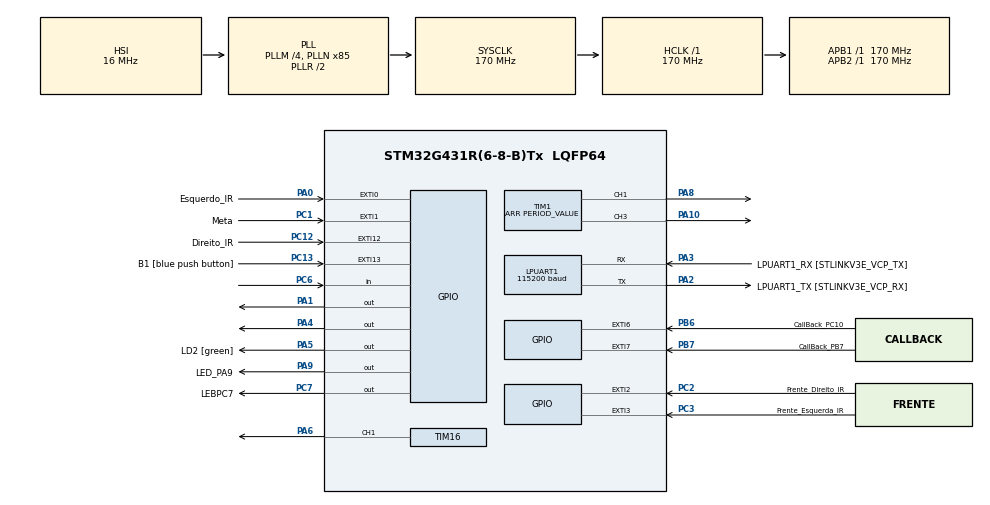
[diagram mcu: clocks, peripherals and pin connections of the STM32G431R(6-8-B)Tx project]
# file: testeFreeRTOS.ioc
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FREERTOS.Tasks01=defaultTask,24,128,StartDefaultTask,Default,NULL,Dynamic,NULL,NULL;myTask02,8,128,StartTask02,Default,NULL,Dynamic,NULL,NULL;myTask03,8,128,StartTask03,Default,NULL,Dynamic,NULL,NULL;myTask04,8,128,StartTask04,Default,NULL,Dynamic,NULL,NULL
FREERTOS.configTICK_RATE_HZ=100
LPUART1.BaudRate=115200
LPUART1.WordLength=UART_WORDLENGTH_8B
Mcu.Family=STM32G4
Mcu.Name=STM32G431R(6-8-B)Tx
Mcu.Package=LQFP64
NVIC.EXTI0_IRQn=true\:5\:0\:false\:false\:true\:true\:true\:true\:true
NVIC.EXTI15_10_IRQn=true\:5\:0\:false\:false\:true\:true\:true\:true\:true
NVIC.EXTI2_IRQn=true\:5\:0\:false\:false\:true\:true\:true\:true\:true
NVIC.EXTI3_IRQn=true\:5\:0\:false\:false\:true\:true\:true\:true\:true
NVIC.EXTI9_5_IRQn=true\:5\:0\:false\:false\:true\:true\:true\:true\:true
NVIC.PriorityGroup=NVIC_PRIORITYGROUP_4
NVIC.TIM2_IRQn=true\:5\:0\:false\:false\:true\:true\:true\:true\:true
NVIC.TIM3_IRQn=true\:15\:0\:false\:false\:true\:false\:false\:true\:true
NVIC.TimeBase=TIM3_IRQn
NVIC.TimeBaseIP=TIM3
PA0.GPIO_Label=Esquerdo_IR
PA0.GPIO_ModeDefaultEXTI=GPIO_MODE_IT_RISING_FALLING
PA0.GPIO_PuPd=GPIO_NOPULL
PA0.Signal=GPXTI0
PA1.Signal=GPIO_Output
PA10.GPIO_PuPd=GPIO_PULLUP
PA10.GPIO_Speed=GPIO_SPEED_FREQ_VERY_HIGH
PA10.Signal=S_TIM1_CH3
PA13.GPIO_Label=T_SWDIO
PA13.Mode=Serial_Wire
PA13.Signal=SYS_JTMS-SWDIO
PA14.GPIO_Label=T_SWCLK
PA14.Mode=Serial_Wire
PA14.Signal=SYS_JTCK-SWCLK
PA2.GPIO_Label=LPUART1_TX [STLINKV3E_VCP_RX]
PA2.Mode=Asynchronous
PA2.Signal=LPUART1_TX
PA3.GPIO_Label=LPUART1_RX [STLINKV3E_VCP_TX]
PA3.Mode=Asynchronous
PA3.Signal=LPUART1_RX
PA4.Signal=GPIO_Output
PA5.GPIO_Label=LD2 [green]
PA5.Signal=GPIO_Output
PA6.GPIO_PuPd=GPIO_PULLUP
PA6.GPIO_Speed=GPIO_SPEED_FREQ_VERY_HIGH
PA6.Signal=S_TIM16_CH1
PA8.GPIO_PuPd=GPIO_PULLUP
PA8.GPIO_Speed=GPIO_SPEED_FREQ_VERY_HIGH
PA8.Signal=S_TIM1_CH1
PA9.GPIO_Label=LED_PA9
PA9.GPIO_ModeDefaultOutputPP=GPIO_MODE_OUTPUT_PP
PA9.GPIO_PuPd=GPIO_NOPULL
PA9.Signal=GPIO_Output
PB3.GPIO_Label=T_SWO
PB3.Signal=SYS_JTDO-SWO
PB6.GPIO_Label=CallBack_PC10
PB6.Signal=GPXTI6
PB7.GPIO_Label=CallBack_PB7
PB7.Signal=GPXTI7
PC1.GPIO_Label=Meta
PC1.Signal=GPXTI1
PC12.GPIO_Label=Direito_IR
PC12.GPIO_ModeDefaultEXTI=GPIO_MODE_IT_RISING_FALLING
PC12.Signal=GPXTI12
PC13.GPIO_Label=B1 [blue push button]
PC13.Signal=GPXTI13
PC14-OSC32_IN.Mode=LSE-External-Oscillator
PC14-OSC32_IN.Signal=RCC_OSC32_IN
PC15-OSC32_OUT.Mode=LSE-External-Oscillator
PC15-OSC32_OUT.Signal=RCC_OSC32_OUT
PC2.GPIO_Label=Frente_Direito_IR
PC2.GPIO_ModeDefaultEXTI=GPIO_MODE_IT_RISING_FALLING
PC2.Signal=GPXTI2
PC3.GPIO_Label=Frente_Esquerda_IR
PC3.GPIO_ModeDefaultEXTI=GPIO_MODE_IT_RISING_FALLING
PC3.Signal=GPXTI3
PC6.GPIO_PuPd=GPIO_NOPULL
PC6.Signal=GPIO_Input
PC7.GPIO_Label=LEBPC7
PC7.Signal=GPIO_Output
PF0-OSC_IN.Mode=HSE-External-Oscillator
PF0-OSC_IN.Signal=RCC_OSC_IN
PF1-OSC_OUT.Mode=HSE-External-Oscillator
PF1-OSC_OUT.Signal=RCC_OSC_OUT
ProjectManager.HeapSize=0x200
ProjectManager.StackSize=0x400
ProjectManager.TargetToolchain=STM32CubeIDE
RCC.ADC12Freq_Value=170000000
RCC.AHBFreq_Value=170000000
RCC.APB1Freq_Value=170000000
RCC.APB1TimFreq_Value=170000000
RCC.APB2Freq_Value=170000000
RCC.APB2TimFreq_Value=170000000
RCC.CortexFreq_Value=170000000
RCC.EXTERNAL_CLOCK_VALUE=12288000
RCC.HCLKFreq_Value=170000000
RCC.HSE_VALUE=24000000
RCC.HSI48_VALUE=48000000
RCC.HSI_VALUE=16000000
RCC.PLLM=RCC_PLLM_DIV4
RCC.PLLN=85
RCC.RTCClockSelection=RCC_RTCCLKSOURCE_LSE
RCC.SYSCLKFreq_VALUE=170000000
RCC.SYSCLKSource=RCC_SYSCLKSOURCE_PLLCLK
RCC.USBFreq_Value=170000000
RCC.VCOOutputFreq_Value=340000000
SH.S_TIM16_CH1.0=TIM16_CH1,PWM Generation1 CH1
SH.S_TIM1_CH1.0=TIM1_CH1,PWM Generation1 CH1
SH.S_TIM1_CH3.0=TIM1_CH3,PWM Generation3 CH3
TIM1.Channel-PWM\ Generation1\ CH1=TIM_CHANNEL_1
TIM1.Channel-PWM\ Generation3\ CH3=TIM_CHANNEL_3
TIM1.PeriodNoDither=PERIOD_VALUE
TIM1.Prescaler=PRESCALER_VALUE
TIM1.PulseNoDither_1=PULSE1_VALUE
TIM1.PulseNoDither_3=PULSE2_VALUE
TIM16.AutoReloadPreload=TIM_AUTORELOAD_PRELOAD_ENABLE
TIM16.Channel=TIM_CHANNEL_1
TIM16.PeriodNoDither=PERIOD_VALUE2
TIM16.Prescaler=PRESCALER_VALUE2
TIM16.PulseNoDither_1=PULSE1_VALUE2
TIM2.PeriodNoDither=30
TIM2.Prescaler=56000
VP_FREERTOS_VS_CMSIS_V2.Mode=CMSIS_V2
VP_SYS_VS_DBSignals.Mode=DisableDeadBatterySignals
VP_SYS_VS_tim3.Mode=TIM3
VP_TIM16_VS_ClockSourceINT.Mode=Enable_Timer
VP_TIM2_VS_ClockSourceINT.Mode=Internal
board=NUCLEO-G431RB

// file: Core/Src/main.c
//testestes

/* USER CODE BEGIN Header */
/**
 ******************************************************************************
 * @file           : main.c
 * @brief          : Main program body
 ******************************************************************************
 * @attention
 *
 * Copyright (c) 2024 STMicroelectronics.
 * All rights reserved.
 *
 * This software is licensed under terms that can be found in the LICENSE file
 * in the root directory of this software component.
 * If no LICENSE file comes with this software, it is provided AS-IS.
 *
 ******************************************************************************
 */
/* USER CODE END Header */
#include "main.h"
#include "cmsis_os.h"

/* USER CODE BEGIN Includes */
#include <stdio.h>
#include <math.h>
#include <stdlib.h>
/* USER CODE END Includes */

UART_HandleTypeDef hlpuart1;

TIM_HandleTypeDef htim1;
TIM_HandleTypeDef htim2;
TIM_HandleTypeDef htim16;

/* Definitions for defaultTask */
osThreadId_t defaultTaskHandle;
const osThreadAttr_t defaultTask_attributes = {
    .name = "defaultTask",
    .priority = (osPriority_t)osPriorityNormal,
    .stack_size = 128 * 4};
/* Definitions for myTask02 */
osThreadId_t myTask02Handle;
const osThreadAttr_t myTask02_attributes = {
    .name = "myTask02",
    .priority = (osPriority_t)osPriorityLow,
    .stack_size = 128 * 4};
/* Definitions for myTask03 */
osThreadId_t myTask03Handle;
const osThreadAttr_t myTask03_attributes = {
    .name = "myTask03",
    .priority = (osPriority_t)osPriorityLow,
    .stack_size = 128 * 4};
/* Definitions for myTask04 */
osThreadId_t myTask04Handle;
const osThreadAttr_t myTask04_attributes = {
    .name = "myTask04",
    .priority = (osPriority_t)osPriorityLow,
    .stack_size = 128 * 4};
/* USER CODE BEGIN PV */
#ifdef __GNUC__
/* With GCC/RAISONANCE, small printf (option LD Linker->Libraries->Small printf
   set to 'Yes') calls __io_putchar() */
#define PUTCHAR_PROTOTYPE int __io_putchar(int ch)
#else
#define PUTCHAR_PROTOTYPE int fputc(int ch, FILE *f)
#endif /* __GNUC__ */

PUTCHAR_PROTOTYPE
{
    /* Place your implementation of fputc here */
    /* e.g. write a character to the USART1 and Loop until the end of transmission */
    HAL_UART_Transmit(&hlpuart1, (uint8_t *)&ch, 1, 0xFFFF);

    return ch;
}
/* USER CODE END PV */

void SystemClock_Config(void);
static void MX_GPIO_Init(void);
static void MX_LPUART1_UART_Init(void);
static void MX_TIM1_Init(void);
static void MX_TIM16_Init(void);
static void MX_TIM2_Init(void);
void StartDefaultTask(void *argument);
void StartTask02(void *argument);
void StartTask03(void *argument);
void StartTask04(void *argument);

/* USER CODE BEGIN 0 */
int count_1s = 0, count_dir = 0, count_esq = 0, count_dir_PPR = 0, count_esq_PPR = 0, count = 0, pcount = 0, count_time_base = 0;
int state = 0;
int pedestrian = 0;
int RPM_esq = 0, RPM_dir = 0, rpm_DIFF = 0, dc_esq = 0, dc_dir = 0, DCE = 3300, DCD, auxxx = 0;
int error = 0, gain = 0, aux1, aux2, frequency_esq, frequency_dir, CONTPWM16 = 300, metaD = 80, metaE = 115;
int DIR = 0, ESQ = 3300;
int derivativeE = 0, integralE = 0, previous_errorE = 0, derivativeD = 0, integralD = 0, previous_errorD = 0;
;
int erroE = 0, gainE = 0, erroD = 0, gainD = 0;
float kp = 1, kd = 0.1, ki = 0.3;
int PID_output;

int flagE = 0, flagD = 0, flagFD = 0, flagFE = 0, flagMETA = 0;
/* USER CODE END 0 */

int main(void)
{

    /* MCU Configuration--------------------------------------------------------*/

    /* Reset of all peripherals, Initializes the Flash interface and the Systick. */
    HAL_Init();

    /* Configure the system clock */
    SystemClock_Config();

    /* Initialize all configured peripherals */
    MX_GPIO_Init();
    MX_LPUART1_UART_Init();
    MX_TIM1_Init();
    MX_TIM16_Init();
    MX_TIM2_Init();
    /* USER CODE BEGIN 2 */
    HAL_TIM_Base_Start_IT(&htim2);
    printf("** Teste inicial 3 %d** \n\r", count);

    /*## Start PWM signals generation #######################################*/
    /* Start channel 1 */
    if (HAL_TIM_PWM_Start(&htim1, TIM_CHANNEL_1) != HAL_OK)
    {
        /* PWM Generation Error */
        Error_Handler();
    }
    if (HAL_TIM_PWM_Start(&htim1, TIM_CHANNEL_3) != HAL_OK)
    {
        /* PWM Generation Error */
        Error_Handler();
    }
    if (HAL_TIM_PWM_Start(&htim16, TIM_CHANNEL_1) != HAL_OK)
    {
        /* PWM Generation Error */
        Error_Handler();
    }
    TIM1->CCR1 = 3500; // DIREITO // 4000
    TIM1->CCR3 = 3900; // 4795

    /* USER CODE END 2 */

    /* Init scheduler */
    osKernelInitialize();

    /* Create the thread(s) */
    /* creation of defaultTask */
    defaultTaskHandle = osThreadNew(StartDefaultTask, NULL, &defaultTask_attributes);

    /* creation of myTask02 */
    myTask02Handle = osThreadNew(StartTask02, NULL, &myTask02_attributes);

    /* creation of myTask03 */
    myTask03Handle = osThreadNew(StartTask03, NULL, &myTask03_attributes);

    /* creation of myTask04 */
    myTask04Handle = osThreadNew(StartTask04, NULL, &myTask04_attributes);

    /* Start scheduler */
    osKernelStart();

    /* We should never get here as control is now taken by the scheduler */
    /* Infinite loop */
    while (1)
    {

    }
}

void SystemClock_Config(void)
{
    RCC_OscInitTypeDef RCC_OscInitStruct = {0};
    RCC_ClkInitTypeDef RCC_ClkInitStruct = {0};

    /** Configure the main internal regulator output voltage
     */
    HAL_PWREx_ControlVoltageScaling(PWR_REGULATOR_VOLTAGE_SCALE1_BOOST);

    /** Initializes the RCC Oscillators according to the specified parameters
     * in the RCC_OscInitTypeDef structure.
     */
    RCC_OscInitStruct.OscillatorType = RCC_OSCILLATORTYPE_HSI;
    RCC_OscInitStruct.HSIState = RCC_HSI_ON;
    RCC_OscInitStruct.HSICalibrationValue = RCC_HSICALIBRATION_DEFAULT;
    RCC_OscInitStruct.PLL.PLLState = RCC_PLL_ON;
    RCC_OscInitStruct.PLL.PLLSource = RCC_PLLSOURCE_HSI;
    RCC_OscInitStruct.PLL.PLLM = RCC_PLLM_DIV4;
    RCC_OscInitStruct.PLL.PLLN = 85;
    RCC_OscInitStruct.PLL.PLLP = RCC_PLLP_DIV2;
    RCC_OscInitStruct.PLL.PLLQ = RCC_PLLQ_DIV2;
    RCC_OscInitStruct.PLL.PLLR = RCC_PLLR_DIV2;
    if (HAL_RCC_OscConfig(&RCC_OscInitStruct) != HAL_OK)
    {
        Error_Handler();
    }

    /** Initializes the CPU, AHB and APB buses clocks
     */
    RCC_ClkInitStruct.ClockType = RCC_CLOCKTYPE_HCLK | RCC_CLOCKTYPE_SYSCLK | RCC_CLOCKTYPE_PCLK1 | RCC_CLOCKTYPE_PCLK2;
    RCC_ClkInitStruct.SYSCLKSource = RCC_SYSCLKSOURCE_PLLCLK;
    RCC_ClkInitStruct.AHBCLKDivider = RCC_SYSCLK_DIV1;
    RCC_ClkInitStruct.APB1CLKDivider = RCC_HCLK_DIV1;
    RCC_ClkInitStruct.APB2CLKDivider = RCC_HCLK_DIV1;

    if (HAL_RCC_ClockConfig(&RCC_ClkInitStruct, FLASH_LATENCY_4) != HAL_OK)
    {
        Error_Handler();
    }
}

static void MX_LPUART1_UART_Init(void)
{

    hlpuart1.Instance = LPUART1;
    hlpuart1.Init.BaudRate = 115200;
    hlpuart1.Init.WordLength = UART_WORDLENGTH_8B;
    hlpuart1.Init.StopBits = UART_STOPBITS_1;
    hlpuart1.Init.Parity = UART_PARITY_NONE;
    hlpuart1.Init.Mode = UART_MODE_TX_RX;
    hlpuart1.Init.HwFlowCtl = UART_HWCONTROL_NONE;
    hlpuart1.Init.OneBitSampling = UART_ONE_BIT_SAMPLE_DISABLE;
    hlpuart1.Init.ClockPrescaler = UART_PRESCALER_DIV1;
    hlpuart1.AdvancedInit.AdvFeatureInit = UART_ADVFEATURE_NO_INIT;
    if (HAL_UART_Init(&hlpuart1) != HAL_OK)
    {
        Error_Handler();
    }
    if (HAL_UARTEx_SetTxFifoThreshold(&hlpuart1, UART_TXFIFO_THRESHOLD_1_8) != HAL_OK)
    {
        Error_Handler();
    }
    if (HAL_UARTEx_SetRxFifoThreshold(&hlpuart1, UART_RXFIFO_THRESHOLD_1_8) != HAL_OK)
    {
        Error_Handler();
    }
    if (HAL_UARTEx_DisableFifoMode(&hlpuart1) != HAL_OK)
    {
        Error_Handler();
    }
}

static void MX_TIM1_Init(void)
{

    TIM_MasterConfigTypeDef sMasterConfig = {0};
    TIM_OC_InitTypeDef sConfigOC = {0};
    TIM_BreakDeadTimeConfigTypeDef sBreakDeadTimeConfig = {0};

    htim1.Instance = TIM1;
    htim1.Init.Prescaler = PRESCALER_VALUE;
    htim1.Init.CounterMode = TIM_COUNTERMODE_UP;
    htim1.Init.Period = PERIOD_VALUE;
    htim1.Init.ClockDivision = TIM_CLOCKDIVISION_DIV1;
    htim1.Init.RepetitionCounter = 0;
    htim1.Init.AutoReloadPreload = TIM_AUTORELOAD_PRELOAD_DISABLE;
    if (HAL_TIM_PWM_Init(&htim1) != HAL_OK)
    {
        Error_Handler();
    }
    sMasterConfig.MasterOutputTrigger = TIM_TRGO_RESET;
    sMasterConfig.MasterOutputTrigger2 = TIM_TRGO2_RESET;
    sMasterConfig.MasterSlaveMode = TIM_MASTERSLAVEMODE_DISABLE;
    if (HAL_TIMEx_MasterConfigSynchronization(&htim1, &sMasterConfig) != HAL_OK)
    {
        Error_Handler();
    }
    sConfigOC.OCMode = TIM_OCMODE_PWM1;
    sConfigOC.Pulse = PULSE1_VALUE;
    sConfigOC.OCPolarity = TIM_OCPOLARITY_HIGH;
    sConfigOC.OCNPolarity = TIM_OCNPOLARITY_HIGH;
    sConfigOC.OCFastMode = TIM_OCFAST_DISABLE;
    sConfigOC.OCIdleState = TIM_OCIDLESTATE_RESET;
    sConfigOC.OCNIdleState = TIM_OCNIDLESTATE_RESET;
    if (HAL_TIM_PWM_ConfigChannel(&htim1, &sConfigOC, TIM_CHANNEL_1) != HAL_OK)
    {
        Error_Handler();
    }
    sConfigOC.Pulse = PULSE2_VALUE;
    if (HAL_TIM_PWM_ConfigChannel(&htim1, &sConfigOC, TIM_CHANNEL_3) != HAL_OK)
    {
        Error_Handler();
    }
    sBreakDeadTimeConfig.OffStateRunMode = TIM_OSSR_DISABLE;
    sBreakDeadTimeConfig.OffStateIDLEMode = TIM_OSSI_DISABLE;
    sBreakDeadTimeConfig.LockLevel = TIM_LOCKLEVEL_OFF;
    sBreakDeadTimeConfig.DeadTime = 0;
    sBreakDeadTimeConfig.BreakState = TIM_BREAK_DISABLE;
    sBreakDeadTimeConfig.BreakPolarity = TIM_BREAKPOLARITY_HIGH;
    sBreakDeadTimeConfig.BreakFilter = 0;
    sBreakDeadTimeConfig.BreakAFMode = TIM_BREAK_AFMODE_INPUT;
    sBreakDeadTimeConfig.Break2State = TIM_BREAK2_DISABLE;
    sBreakDeadTimeConfig.Break2Polarity = TIM_BREAK2POLARITY_HIGH;
    sBreakDeadTimeConfig.Break2Filter = 0;
    sBreakDeadTimeConfig.Break2AFMode = TIM_BREAK_AFMODE_INPUT;
    sBreakDeadTimeConfig.AutomaticOutput = TIM_AUTOMATICOUTPUT_DISABLE;
    if (HAL_TIMEx_ConfigBreakDeadTime(&htim1, &sBreakDeadTimeConfig) != HAL_OK)
    {
        Error_Handler();
    }
    HAL_TIM_MspPostInit(&htim1);
}

static void MX_TIM2_Init(void)
{

    TIM_ClockConfigTypeDef sClockSourceConfig = {0};
    TIM_MasterConfigTypeDef sMasterConfig = {0};

    htim2.Instance = TIM2;
    htim2.Init.Prescaler = 56000;
    htim2.Init.CounterMode = TIM_COUNTERMODE_UP;
    htim2.Init.Period = 30;
    htim2.Init.ClockDivision = TIM_CLOCKDIVISION_DIV1;
    htim2.Init.AutoReloadPreload = TIM_AUTORELOAD_PRELOAD_DISABLE;
    if (HAL_TIM_Base_Init(&htim2) != HAL_OK)
    {
        Error_Handler();
    }
    sClockSourceConfig.ClockSource = TIM_CLOCKSOURCE_INTERNAL;
    if (HAL_TIM_ConfigClockSource(&htim2, &sClockSourceConfig) != HAL_OK)
    {
        Error_Handler();
    }
    sMasterConfig.MasterOutputTrigger = TIM_TRGO_RESET;
    sMasterConfig.MasterSlaveMode = TIM_MASTERSLAVEMODE_DISABLE;
    if (HAL_TIMEx_MasterConfigSynchronization(&htim2, &sMasterConfig) != HAL_OK)
    {
        Error_Handler();
    }
}

static void MX_TIM16_Init(void)
{

    TIM_OC_InitTypeDef sConfigOC = {0};
    TIM_BreakDeadTimeConfigTypeDef sBreakDeadTimeConfig = {0};

    htim16.Instance = TIM16;
    htim16.Init.Prescaler = PRESCALER_VALUE2;
    htim16.Init.CounterMode = TIM_COUNTERMODE_UP;
    htim16.Init.Period = PERIOD_VALUE2;
    htim16.Init.ClockDivision = TIM_CLOCKDIVISION_DIV1;
    htim16.Init.RepetitionCounter = 0;
    htim16.Init.AutoReloadPreload = TIM_AUTORELOAD_PRELOAD_ENABLE;
    if (HAL_TIM_Base_Init(&htim16) != HAL_OK)
    {
        Error_Handler();
    }
    if (HAL_TIM_PWM_Init(&htim16) != HAL_OK)
    {
        Error_Handler();
    }
    sConfigOC.OCMode = TIM_OCMODE_PWM1;
    sConfigOC.Pulse = PULSE1_VALUE2;
    sConfigOC.OCPolarity = TIM_OCPOLARITY_HIGH;
    sConfigOC.OCNPolarity = TIM_OCNPOLARITY_HIGH;
    sConfigOC.OCFastMode = TIM_OCFAST_DISABLE;
    sConfigOC.OCIdleState = TIM_OCIDLESTATE_RESET;
    sConfigOC.OCNIdleState = TIM_OCNIDLESTATE_RESET;
    if (HAL_TIM_PWM_ConfigChannel(&htim16, &sConfigOC, TIM_CHANNEL_1) != HAL_OK)
    {
        Error_Handler();
    }
    sBreakDeadTimeConfig.OffStateRunMode = TIM_OSSR_DISABLE;
    sBreakDeadTimeConfig.OffStateIDLEMode = TIM_OSSI_DISABLE;
    sBreakDeadTimeConfig.LockLevel = TIM_LOCKLEVEL_OFF;
    sBreakDeadTimeConfig.DeadTime = 0;
    sBreakDeadTimeConfig.BreakState = TIM_BREAK_DISABLE;
    sBreakDeadTimeConfig.BreakPolarity = TIM_BREAKPOLARITY_HIGH;
    sBreakDeadTimeConfig.BreakFilter = 0;
    sBreakDeadTimeConfig.AutomaticOutput = TIM_AUTOMATICOUTPUT_DISABLE;
    if (HAL_TIMEx_ConfigBreakDeadTime(&htim16, &sBreakDeadTimeConfig) != HAL_OK)
    {
        Error_Handler();
    }
    HAL_TIM_MspPostInit(&htim16);
}

static void MX_GPIO_Init(void)
{
    GPIO_InitTypeDef GPIO_InitStruct = {0};

    /* GPIO Ports Clock Enable */
    __HAL_RCC_GPIOC_CLK_ENABLE();
    __HAL_RCC_GPIOF_CLK_ENABLE();
    __HAL_RCC_GPIOA_CLK_ENABLE();
    __HAL_RCC_GPIOB_CLK_ENABLE();

    /*Configure GPIO pin Output Level */
    HAL_GPIO_WritePin(GPIOA, GPIO_PIN_1 | GPIO_PIN_4 | LD2_Pin | LED_PA9_Pin, GPIO_PIN_RESET);

    /*Configure GPIO pin Output Level */
    HAL_GPIO_WritePin(LEBPC7_GPIO_Port, LEBPC7_Pin, GPIO_PIN_RESET);

    /*Configure GPIO pin : B1_Pin */
    GPIO_InitStruct.Pin = B1_Pin;
    GPIO_InitStruct.Mode = GPIO_MODE_IT_RISING;
    GPIO_InitStruct.Pull = GPIO_NOPULL;
    HAL_GPIO_Init(B1_GPIO_Port, &GPIO_InitStruct);

    /*Configure GPIO pins : Frente_Direito_IR_Pin Frente_Esquerda_IR_Pin Direito_IR_Pin */
    GPIO_InitStruct.Pin = Frente_Direito_IR_Pin | Frente_Esquerda_IR_Pin | Direito_IR_Pin;
    GPIO_InitStruct.Mode = GPIO_MODE_IT_RISING_FALLING;
    GPIO_InitStruct.Pull = GPIO_NOPULL;
    HAL_GPIO_Init(GPIOC, &GPIO_InitStruct);

    /*Configure GPIO pin : Esquerdo_IR_Pin */
    GPIO_InitStruct.Pin = Esquerdo_IR_Pin;
    GPIO_InitStruct.Mode = GPIO_MODE_IT_RISING_FALLING;
    GPIO_InitStruct.Pull = GPIO_NOPULL;
    HAL_GPIO_Init(Esquerdo_IR_GPIO_Port, &GPIO_InitStruct);

    /*Configure GPIO pins : PA1 PA4 LD2_Pin LED_PA9_Pin */
    GPIO_InitStruct.Pin = GPIO_PIN_1 | GPIO_PIN_4 | LD2_Pin | LED_PA9_Pin;
    GPIO_InitStruct.Mode = GPIO_MODE_OUTPUT_PP;
    GPIO_InitStruct.Pull = GPIO_NOPULL;
    GPIO_InitStruct.Speed = GPIO_SPEED_FREQ_LOW;
    HAL_GPIO_Init(GPIOA, &GPIO_InitStruct);

    /*Configure GPIO pin : PC6 */
    GPIO_InitStruct.Pin = GPIO_PIN_6;
    GPIO_InitStruct.Mode = GPIO_MODE_INPUT;
    GPIO_InitStruct.Pull = GPIO_NOPULL;
    HAL_GPIO_Init(GPIOC, &GPIO_InitStruct);

    /*Configure GPIO pin : LEBPC7_Pin */
    GPIO_InitStruct.Pin = LEBPC7_Pin;
    GPIO_InitStruct.Mode = GPIO_MODE_OUTPUT_PP;
    GPIO_InitStruct.Pull = GPIO_NOPULL;
    GPIO_InitStruct.Speed = GPIO_SPEED_FREQ_LOW;
    HAL_GPIO_Init(LEBPC7_GPIO_Port, &GPIO_InitStruct);

    /*Configure GPIO pins : CallBack_PC10_Pin CallBack_PB7_Pin */
    GPIO_InitStruct.Pin = CallBack_PC10_Pin | CallBack_PB7_Pin;
    GPIO_InitStruct.Mode = GPIO_MODE_IT_RISING;
    GPIO_InitStruct.Pull = GPIO_NOPULL;
    HAL_GPIO_Init(GPIOB, &GPIO_InitStruct);

    /* EXTI interrupt init*/
    HAL_NVIC_SetPriority(EXTI0_IRQn, 5, 0);
    HAL_NVIC_EnableIRQ(EXTI0_IRQn);

    HAL_NVIC_SetPriority(EXTI2_IRQn, 5, 0);
    HAL_NVIC_EnableIRQ(EXTI2_IRQn);

    HAL_NVIC_SetPriority(EXTI3_IRQn, 5, 0);
    HAL_NVIC_EnableIRQ(EXTI3_IRQn);

    HAL_NVIC_SetPriority(EXTI9_5_IRQn, 5, 0);
    HAL_NVIC_EnableIRQ(EXTI9_5_IRQn);

    HAL_NVIC_SetPriority(EXTI15_10_IRQn, 5, 0);
    HAL_NVIC_EnableIRQ(EXTI15_10_IRQn);

}

/* USER CODE BEGIN 4 */
void ajustePWM(void)
{
}

void IR_esquerdo_func(void)
{
    if ((GPIOA->IDR & GPIO_PIN_0))
    { // IF STATUS PIN is HIGH
        // printf("\rSensor esquerdo: Livre! \r\n");
        flagE = 0;
    }
    if (!(GPIOA->IDR & GPIO_PIN_0))
    { // IF STATUS PIN is LOW
        //	printf("\rSensor esquerdo: Parede!\r\n");
        flagE = 1;
    }
}

void IR_direito_func(void)
{
    if ((GPIOC->IDR & GPIO_PIN_12))
    { // IF STATUS PIN is HIGH
        // printf("\rSensor Direito: Livre! \r\n");
        flagD = 0;
    }
    if (!(GPIOC->IDR & GPIO_PIN_12))
    { // IF STATUS PIN is LOW
        //	printf("\rSensor Direito: Parede!\r\n");
        flagD = 1;
    }
}

void IR_frente_esquerda_func(void)
{
    if ((GPIOC->IDR & GPIO_PIN_3))
    { // IF STATUS PIN is HIGH
        // printf("\rSensor Frente  esquerdo: Livre! \r\n");
        flagFE = 0;
    }
    if (!(GPIOC->IDR & GPIO_PIN_3))
    { // IF STATUS PIN is LOW
        // printf("\rSensor frente esquerdo: Parede!\r\n");
        flagFE = 1;
    }
}

void IR_frente_direita_func(void)
{
    if ((GPIOC->IDR & GPIO_PIN_2))
    { // IF STATUS PIN is HIGH
        // printf("\rSensor frente direito: Livre! \r\n");
        flagFD = 0;
    }
    if (!(GPIOC->IDR & GPIO_PIN_2))
    { // IF STATUS PIN is LOW
        // printf("\rSensor frente direito: Parede!\r\n");
        flagFD = 1;
    }
}

void CallBack_PC10(void)
{
    count_esq = count_esq + 1;
}

void CallBack_PB7(void)
{
    count_dir = count_dir + 1;
}

void CallBack_ExtePC13(void)
{

    fowardRobot();
    pedestrian = 1;
}

int increasePWM(int currentPWM, int gain)
{
    int aux;
    aux = currentPWM + abs(gain);
    if (aux > 3800)
        return 3800;
    else
        return aux;
}

int decreasePWM(int currentPWM, int gain)
{
    int aux;
    aux = currentPWM - abs(gain);
    if (aux < 3300)
        return 3300;
    else
        return aux;
}

int increasePWMESQ(int currentPWM, int gain)
{
    int aux;
    aux = (currentPWM + 200) + abs(gain);
    if (aux > 3800)
        return 3800;
    else
        return aux;
}

int decreasePWMDIR(int currentPWM, int gain)
{
    int aux;
    aux = (currentPWM - abs(gain)) - 400;
    if (aux < 3300)
        return 3300;
    else
        return aux;
}

/**
 * @brief Para o carro, setando todos os pinos
 * @param void
 */
void stopRobot(void)
{
    // Talvez se setar todos pra ...GPIO_PIN_RESET seja melhor do que o GPIO_PIN_SET
    // Testar se der tempo

    // Roda Direita
    HAL_GPIO_WritePin(GPIOC, GPIO_PIN_7, GPIO_PIN_SET); // AMARELO do carro
    HAL_GPIO_WritePin(GPIOA, GPIO_PIN_9, GPIO_PIN_SET); // GREEN do carro

    // Roda Esquerda
    HAL_GPIO_WritePin(GPIOA, GPIO_PIN_1, GPIO_PIN_SET);
    HAL_GPIO_WritePin(GPIOA, GPIO_PIN_4, GPIO_PIN_SET);
}

/**
 * @brief Faz o carro andar para trás, setando ambas as rotações como anti-horárias
 * @param void
 */
void backwardsRobot(void)
{

    // Roda Direita
    HAL_GPIO_WritePin(GPIOC, GPIO_PIN_7, GPIO_PIN_SET);   // AMARELO do carro
    HAL_GPIO_WritePin(GPIOA, GPIO_PIN_9, GPIO_PIN_RESET); // GREEN do carro

    // Roda Esquerda
    HAL_GPIO_WritePin(GPIOA, GPIO_PIN_1, GPIO_PIN_SET);
    HAL_GPIO_WritePin(GPIOA, GPIO_PIN_4, GPIO_PIN_RESET);
}

/**
 * @brief Faz o carro andar para frente, setando ambas as rotações como horárias
 * @param void
 */
void fowardRobot(void)
{

    // Roda Direita
    HAL_GPIO_WritePin(GPIOC, GPIO_PIN_7, GPIO_PIN_RESET); // AMARELO do carro
    HAL_GPIO_WritePin(GPIOA, GPIO_PIN_9, GPIO_PIN_SET);   // GREEN do carro

    // Roda Esquerda
    HAL_GPIO_WritePin(GPIOA, GPIO_PIN_1, GPIO_PIN_RESET);
    HAL_GPIO_WritePin(GPIOA, GPIO_PIN_4, GPIO_PIN_SET);
}

/**
 * @brief Faz o carro se virar para a direita, setando o movimento da roda
 * direita como horária e a esquerda como anti-horária.
 * @param void
 */
void turnRight(void)
{

    // Roda Direita
    HAL_GPIO_WritePin(GPIOC, GPIO_PIN_7, GPIO_PIN_RESET); // AMARELO do carro
    HAL_GPIO_WritePin(GPIOA, GPIO_PIN_9, GPIO_PIN_SET);   // GREEN do carro

    // Roda Esquerda
    HAL_GPIO_WritePin(GPIOA, GPIO_PIN_1, GPIO_PIN_SET);
    HAL_GPIO_WritePin(GPIOA, GPIO_PIN_4, GPIO_PIN_RESET);
}

/**
 * @brief Faz o carro se virar para a esquerda, setando o movimento da roda
 * direita como anti-horária e a esquerda como horária.
 * @param void
 */
void turnLeft(void)
{

    // Roda Direita
    HAL_GPIO_WritePin(GPIOC, GPIO_PIN_7, GPIO_PIN_SET);   // AMARELO do carro
    HAL_GPIO_WritePin(GPIOA, GPIO_PIN_9, GPIO_PIN_RESET); // GREEN do carro

    // Roda Esquerda
    HAL_GPIO_WritePin(GPIOA, GPIO_PIN_1, GPIO_PIN_RESET);
    HAL_GPIO_WritePin(GPIOA, GPIO_PIN_4, GPIO_PIN_SET);
}

/**
 * @brief Faz o carro se virar para a esquerda em forma de curva, setando
 * o movimento apenas na roda esquerda enquanto a direita é parada
 * e então o carro anda para frente.
 * @attention Não foi testada!
 * @param void
 */
void movimento_curvaCompletaEsquerda(void)
{
    // Desabilita os IRQs, pelo que entendi
    HAL_NVIC_DisableIRQ(EXTI15_10_IRQn);
    HAL_NVIC_DisableIRQ(EXTI2_IRQn);
    HAL_NVIC_DisableIRQ(EXTI3_IRQn);
    HAL_NVIC_DisableIRQ(EXTI0_IRQn);

    count_esq = 0;

    // Seta a roda direita
    HAL_GPIO_WritePin(GPIOC, GPIO_PIN_7, GPIO_PIN_RESET);
    HAL_GPIO_WritePin(GPIOA, GPIO_PIN_9, GPIO_PIN_RESET);
    // Seta a roda esquerda
    HAL_GPIO_WritePin(GPIOA, GPIO_PIN_1, GPIO_PIN_RESET);
    HAL_GPIO_WritePin(GPIOA, GPIO_PIN_4, GPIO_PIN_SET);

    while (count_esq != 46)
    {
        // Falta fazer aqui dentro
    }

    // Faz o carro andar para a frente
    fowardRobot();

    // Habilita os IRQs novamente
    HAL_NVIC_EnableIRQ(EXTI15_10_IRQn);
    HAL_NVIC_EnableIRQ(EXTI2_IRQn);
    HAL_NVIC_EnableIRQ(EXTI3_IRQn);
    HAL_NVIC_EnableIRQ(EXTI0_IRQn);
}

/**
 * @brief Faz o carro se virar para a direita em forma de curva, setando
 * o movimento apenas na roda direita enquanto a esquerda é parada.
 * @attention Não foi testada!
 * @param void
 */
void movimento_curvaCompletaDireita(void)
{
    // Desabilita os IRQs
    HAL_NVIC_DisableIRQ(EXTI15_10_IRQn);
    HAL_NVIC_DisableIRQ(EXTI2_IRQn);
    HAL_NVIC_DisableIRQ(EXTI3_IRQn);
    HAL_NVIC_DisableIRQ(EXTI0_IRQn);

    count_dir = 0;

    // Seta a roda direita
    HAL_GPIO_WritePin(GPIOC, GPIO_PIN_7, GPIO_PIN_RESET);
    HAL_GPIO_WritePin(GPIOA, GPIO_PIN_9, GPIO_PIN_SET);
    // Seta a roda esquerda
    HAL_GPIO_WritePin(GPIOA, GPIO_PIN_1, GPIO_PIN_RESET);
    HAL_GPIO_WritePin(GPIOA, GPIO_PIN_4, GPIO_PIN_RESET);

    while (count_dir != 46)
    {
        // Falta fazer aqui dentro
    }

    // Faz o carro andar para a frente
    fowardRobot();

    // Habilita os IRQs novamente
    HAL_NVIC_EnableIRQ(EXTI15_10_IRQn);
    HAL_NVIC_EnableIRQ(EXTI2_IRQn);
    HAL_NVIC_EnableIRQ(EXTI3_IRQn);
    HAL_NVIC_EnableIRQ(EXTI0_IRQn);
    HAL_NVIC_EnableIRQ(EXTI1_IRQn);
}

/**
 * @brief Desabilita todos os IRQs
 * @param void
 */
void disableIRs(void)
{
    HAL_NVIC_DisableIRQ(EXTI15_10_IRQn);
    HAL_NVIC_DisableIRQ(EXTI2_IRQn);
    HAL_NVIC_DisableIRQ(EXTI3_IRQn);
    HAL_NVIC_DisableIRQ(EXTI0_IRQn);
    HAL_NVIC_DisableIRQ(EXTI1_IRQn);
}

/**
 * @brief Habilita todos os IRQs
 * @param void
 */
void enableIRs(void)
{
    HAL_NVIC_EnableIRQ(EXTI15_10_IRQn);
    HAL_NVIC_EnableIRQ(EXTI2_IRQn);
    HAL_NVIC_EnableIRQ(EXTI3_IRQn);
    HAL_NVIC_EnableIRQ(EXTI0_IRQn);
    HAL_NVIC_EnableIRQ(EXTI1_IRQn);
}

/**
 * @brief Faz o carro virar para a direita enquanto "parado" no mesmo lugar.
 * Ativa a roda direita como horária e a roda esquerda como anti-horária, realizando o
 * movimento por x segundos.
 * @param segundos float - tempo em segundos que o veículo vai rotacionar
 */
void vira_direita(float segundos)
{
    // Desabilita os IRQs
    disableIRs();

    // Seta a roda direita
    HAL_GPIO_WritePin(GPIOC, GPIO_PIN_7, GPIO_PIN_SET);
    HAL_GPIO_WritePin(GPIOA, GPIO_PIN_9, GPIO_PIN_RESET);
    // Seta a roda esquerda
    HAL_GPIO_WritePin(GPIOA, GPIO_PIN_1, GPIO_PIN_RESET);
    HAL_GPIO_WritePin(GPIOA, GPIO_PIN_4, GPIO_PIN_SET);

    float tempoTotal = 100 * segundos;

    // Se movimenta no estado atual por x segundos
    osDelay(tempoTotal);

    // Habilita os IRQs
    enableIRs();
}

/**
 * @brief Faz o carro virar para a esquerda enquanto "parado" no mesmo lugar.
 * Ativa a roda direita como anti-horária e a roda esquerda como horária, realizando o
 * movimento por x segundos.
 * @param segundos float - tempo em segundos que o veículo vai rotacionar
 */
void vira_esquerda(float segundos)
{
    // Desabilita os IRQs
    disableIRs();

    // Seta a roda direita
    HAL_GPIO_WritePin(GPIOC, GPIO_PIN_7, GPIO_PIN_RESET);
    HAL_GPIO_WritePin(GPIOA, GPIO_PIN_9, GPIO_PIN_SET);
    // Seta a roda esquerda
    HAL_GPIO_WritePin(GPIOA, GPIO_PIN_1, GPIO_PIN_SET);
    HAL_GPIO_WritePin(GPIOA, GPIO_PIN_4, GPIO_PIN_RESET);

    float tempoTotal = 100 * segundos;

    // Se movimenta no estado atual por x segundos
    osDelay(tempoTotal);

    // Habilita os IRQs
    enableIRs();
}

/**
 * @brief Verifica se há algum obstáculo na esquerda e se sim, faz o veículo virar para a direita.
 * @param segundos float - tempo em segundos que o veículo vai rotacionar
 */
void verifica_esquerda_vira_direita(float segundos)
{
    if (flagE == 1)
    {
        // Vira para a direita, por x segundos
        vira_direita(segundos);
    }
}

/**
 * @brief Verifica se há algum obstáculo na direita e se sim, faz o veículo virar para a esquerda.
 * @param segundos float - tempo em segundos que o veículo vai rotacionar
 */
void verifica_direita_vira_esquerda(float segundos)
{
    if (flagD == 1)
    {
        // Vira para a esquerda, por x segundos
        vira_esquerda(segundos);
    }
}

void StartDefaultTask(void *argument)
{
    int tempo_aguardado = 100 * 1;
    int tempo_deslocamento = 100 * 1;
    float tempo_rotacao = 100 * 0.5;

    // Espera os 5 segundos iniciais
    osDelay(500);

    for (;;)
    {
        // Verifica se há algum obstáculo na frente do carro
        if (flagFE)
        {

            // variável pra controlar quando sair do while
            int ainda_possui_obstaculo = 1;

            // vira para a direita até que encontre um caminho livre
            while (ainda_possui_obstaculo)
            {

                // Faz o veículo virar para a direita, aguarda 1 segundo
                vira_direita(tempo_rotacao);
                osDelay(tempo_aguardado);

                // Verifica se o caminho está livre,
                if (!flagFE)
                {
                    // se sim, sai do while
                    ainda_possui_obstaculo = 0;

                    // Faz o veículo andar para frente
                    fowardRobot();
                    osDelay(tempo_deslocamento);
                }
            }
        }
        else
        {

            // Faz o veículo andar para frente
            fowardRobot();
            osDelay(tempo_deslocamento);
        }

        // Para o veículo e espera 1 segundo
        stopRobot();
        osDelay(tempo_aguardado);
    }
}

/* USER CODE END 5 */
void StartTask02(void *argument)
{
    /* USER CODE BEGIN StartTask02 */
    /* Infinite loop */
    for (;;)
    {
        osDelay(5);
    }
    /* USER CODE END StartTask02 */
}

void StartTask03(void *argument)
{
    for (;;)
    {
    }
}

void StartTask04(void *argument)
{
    for (;;)
    {
    }
}

void HAL_TIM_PeriodElapsedCallback(TIM_HandleTypeDef *htim)
{
    /* USER CODE BEGIN Callback 0 */
    if (htim->Instance == TIM2)
    {
        ajustePWM();
    }

    /* USER CODE END Callback 0 */
    if (htim->Instance == TIM3)
    {
        HAL_IncTick();
    }
}
void HAL_GPIO_EXTI_Callback(uint16_t GPIO_Pin)
{
    /* Prevent unused argument(s) compilation warning */
    UNUSED(GPIO_Pin);
    if (GPIO_Pin == CallBack_PC10_Pin)
    {
        CallBack_PC10();
    }
    if (GPIO_Pin == CallBack_PB7_Pin)
    {
        CallBack_PB7();
    }
    if (GPIO_Pin == B1_Pin)
    {
        CallBack_ExtePC13();
    }
    if (GPIO_Pin == Esquerdo_IR_Pin)
    {
        IR_esquerdo_func();
    }
    if (GPIO_Pin == Direito_IR_Pin)
    {
        IR_direito_func();
    }
    if (GPIO_Pin == Frente_Esquerda_IR_Pin)
    {
        IR_frente_esquerda_func();
    }
    if (GPIO_Pin == Frente_Direito_IR_Pin)
    {
        IR_frente_direita_func();
    }
}

void Error_Handler(void)
{
    __disable_irq();
    while (1)
    {
    }
}
